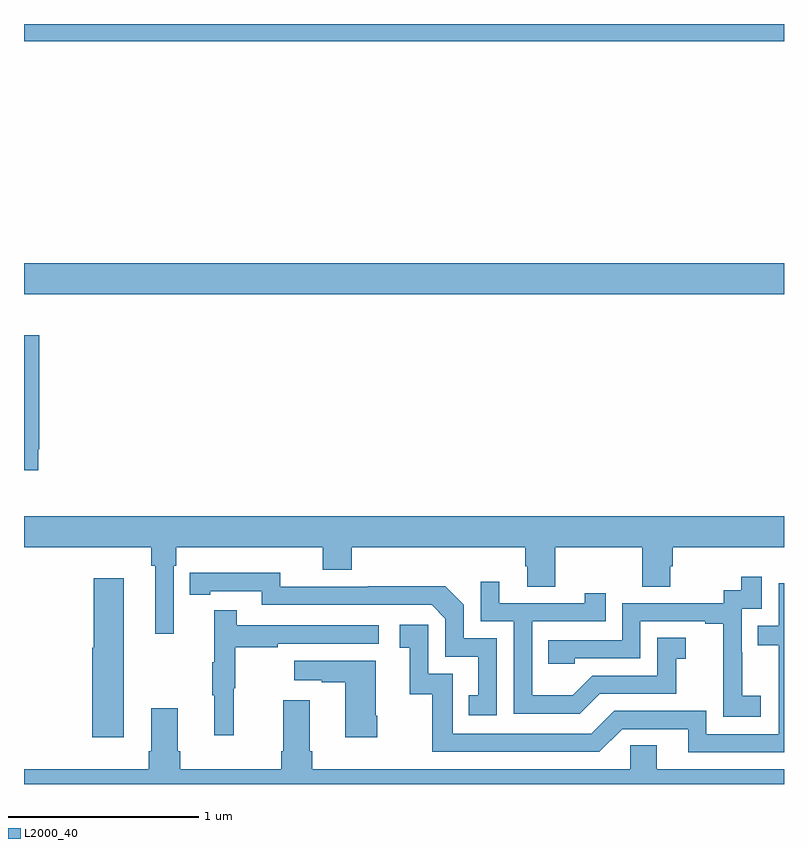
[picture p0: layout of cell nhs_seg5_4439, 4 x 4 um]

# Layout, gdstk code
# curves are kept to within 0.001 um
import gdstk
lib = gdstk.Library(unit=1e-6, precision=1e-09)
def R(c, l, rs):  # rectangles x0, y0, x1, y1
    for r in rs: c.add(gdstk.rectangle(r[:2], r[2:], *l))
def P(c, l, *ps):  # polygons
    for p in ps: c.add(gdstk.Polygon(p, *l))
L2000_40 = (2000, 40)

nhs_seg5_4439 = lib.new_cell('nhs_seg5_4439')
R(nhs_seg5_4439, L2000_40, [(371,907.376,375,907.54), (371,908.708,375,908.799)])
P(nhs_seg5_4439, L2000_40, [(371.074,906.562),(371.081,906.562),(371.081,907.16),(371,907.16),(371,906.45),(371.074,906.45)],
  [(371.787,905.948),(371.801,905.948),(371.801,906.044),(372.572,906.044),(372.572,905.927),(372.725,905.927),(372.725,906.044),(373.637,906.044),(373.637,905.946),(373.649,905.946),(373.649,905.836),(373.797,905.836),(373.797,906.044),(374.254,906.044),(374.254,905.836),(374.401,905.836),(374.401,905.946),(374.414,905.946),(374.414,906.044),(375,906.044),(375,906.208),(371,906.208),(371,906.044),(371.671,906.044),(371.671,905.948),(371.69,905.948),(371.69,905.589),(371.787,905.589)],
  [(373.488,905.565),(373.314,905.565),(373.314,905.742),(373.216,905.84),(372.808,905.84),(372.808,905.838),(372.348,905.838),(372.348,905.911),(371.872,905.91),(371.872,905.794),(371.98,905.794),(371.98,905.814),(372.252,905.814),(372.252,905.742),(373.146,905.742),(373.218,905.67),(373.218,905.469),(373.391,905.469),(373.391,905.265),(373.342,905.265),(373.342,905.16),(373.488,905.16)],
  [(374.878,905.263),(374.78,905.263),(374.78,905.492),(374.778,905.492),(374.778,905.721),(374.883,905.721),(374.883,905.89),(374.775,905.89),(374.775,905.82),(374.682,905.82),(374.682,905.751),(374.148,905.751),(374.148,905.556),(373.759,905.556),(373.759,905.433),(373.899,905.433),(373.899,905.46),(374.244,905.46),(374.244,905.655),(374.585,905.655),(374.585,905.643),(374.681,905.643),(374.681,905.359),(374.68,905.359),(374.68,905.153),(374.878,905.153)],
  [(371.524,905.881),(371.366,905.881),(371.366,905.517),(371.36,905.517),(371.36,905.046),(371.524,905.046)],
  [(374.029,905.274),(374.433,905.274),(374.433,905.459),(374.482,905.459),(374.482,905.569),(374.334,905.569),(374.334,905.37),(373.992,905.37),(373.888,905.266),(373.674,905.266),(373.674,905.655),(374.063,905.655),(374.063,905.803),(373.952,905.803),(373.952,905.751),(373.501,905.751),(373.501,905.863),(373.404,905.863),(373.404,905.655),(373.578,905.655),(373.578,905.169),(373.924,905.169)],
  [(375,905.856),(374.973,905.856),(374.973,905.631),(374.863,905.631),(374.863,905.53),(374.973,905.53),(374.973,905.061),(374.592,905.061),(374.592,905.184),(374.106,905.184),(373.986,905.064),(373.257,905.064),(373.257,905.379),(373.128,905.379),(373.128,905.638),(372.978,905.638),(372.978,905.517),(373.031,905.517),(373.031,905.271),(373.149,905.271),(373.149,904.968),(374.028,904.968),(374.148,905.088),(374.495,905.088),(374.495,904.965),(375,904.965)],
  [(372.104,905.304),(372.112,905.304),(372.112,905.518),(372.335,905.518),(372.335,905.538),(372.868,905.538),(372.868,905.634),(372.119,905.634),(372.119,905.713),(372.002,905.713),(372.002,905.441),(371.991,905.441),(371.991,905.267),(372.002,905.267),(372.002,905.055),(372.104,905.055)],
  [(372.858,905.158),(372.85,905.158),(372.85,905.449),(372.423,905.449),(372.423,905.345),(372.566,905.345),(372.566,905.335),(372.692,905.335),(372.692,905.046),(372.858,905.046)],
  [(375,904.876),(374.329,904.876),(374.329,905.003),(374.19,905.003),(374.19,904.876),(372.518,904.876),(372.518,904.972),(372.505,904.972),(372.505,905.239),(372.365,905.239),(372.365,904.972),(372.353,904.972),(372.353,904.876),(371.822,904.876),(371.822,904.972),(371.809,904.972),(371.809,905.197),(371.669,905.197),(371.669,904.972),(371.657,904.972),(371.657,904.876),(371,904.876),(371,904.799),(375,904.799)])

lib.write_gds('nhs_seg5_4439.gds')
